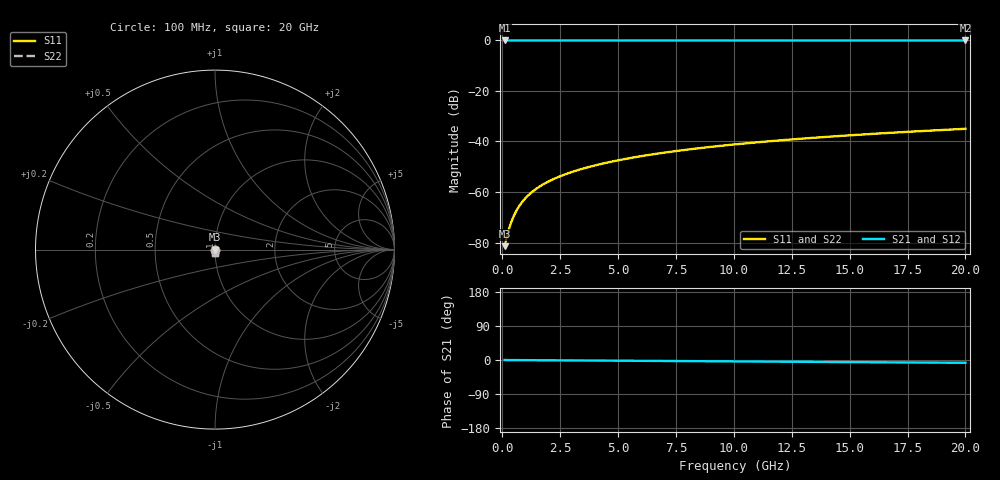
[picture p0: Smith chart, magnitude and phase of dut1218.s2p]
! Touchstone file exported from HFSS 2026.1.0
!  File:  C:/ffzhzh/LocalFiles/Ansys_Project_Files/temp_train_TSV_1218_1783192981_51560.aedt
!  Generated:  03:24:15 AM Jul  5, 2026
!  Design:  TSV
!  Project:  temp_train_TSV_1218_1783192981_51560
! Variables:
!  h_bsmrdl = 2um
!  h_ox = 20um
!  h_rdl = 5um
!  h_sub = 71.58um
!  h_tmrdl = 5um
!  h_tsv = 71.58um
!  h_via = 3um
!  l_bsmrdl = 300um
!  l_sub = 429.84um
!  l_tmrdl = 200um
!  m_sub = 200um
!  pitch = 51.87um
!  r_tsv = 14.92um
!  s_tmrdl = 10um
!  w_bsmrdl = 18um
!  w_sub = 500um
!  w_tmrdl = 12um
!  x_tsv_center1 = 206um
!  x_tsv_center2 = 524um
!  x_tsv_center3 = 736um
!  x_tsv_center4 = 1054um
!  x_tsv_center5 = 1266um
!  x_tsv_center6 = 1584um
# GHz S MA R 50.000000
! Terminal data exported
! Port[1] = TSV1_1_T1
! Port[2] = TSV1_1_T2
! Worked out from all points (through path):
!   200 points, 100 MHz to 20 GHz, reference 50 ohm
!   highest |S21| = 0.00 dB at 100 MHz (marker M1); lowest = 0.0 dB at 20 GHz (marker M2)
!   group delay of S21, straight-line fit = 1.02 ps
!   lowest |S11| = -81.4 dB at 100 MHz (marker M3), VSWR 1.00, Z = 50 - j0.00514 ohm
!   |S11| at or under -10 dB: start of sweep to end of sweep
!   |S22| runs from -81.4 to -35.0 dB; largest |S21 - S12| = 6.9e-15
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0.1  8.466e-05 -37.4  0.9999 -0.0  0.9999 -0.0  8.466e-05 -37.4
! Gamma 0 0 0 0
! Port Impedance 50 0 50 0
0.2  0.000133 -53.1  0.9999 -0.1  0.9999 -0.1  0.000133 -53.1
0.3  0.0001939 -59.6  0.9999 -0.1  0.9999 -0.1  0.0001939 -59.6
0.4  0.0002631 -63.2  0.9999 -0.2  0.9999 -0.2  0.0002631 -63.2
0.5  0.0003384 -65.6  0.9999 -0.2  0.9999 -0.2  0.0003384 -65.6
0.6  0.000418 -67.6  0.9998 -0.2  0.9998 -0.2  0.000418 -67.6
0.8  0.0005846 -70.8  0.9998 -0.3  0.9998 -0.3  0.0005846 -70.8
1.1  0.0008422 -74.3  0.9998 -0.4  0.9998 -0.4  0.0008422 -74.3
1.3  0.001015 -76.1  0.9997 -0.5  0.9997 -0.5  0.001015 -76.1
1.5  0.001188 -77.6  0.9997 -0.6  0.9997 -0.6  0.001188 -77.6
1.8  0.001447 -79.2  0.9997 -0.7  0.9997 -0.7  0.001447 -79.2
2.1  0.001706 -80.5  0.9997 -0.8  0.9997 -0.8  0.001706 -80.5
2.7  0.002224 -82.3  0.9997 -1.0  0.9997 -1.0  0.002224 -82.3
3.5  0.002919 -83.9  0.9996 -1.3  0.9996 -1.3  0.002919 -83.9
4.2  0.003532 -84.9  0.9996 -1.6  0.9996 -1.6  0.003532 -84.9
5  0.004238 -85.7  0.9995 -1.9  0.9995 -1.9  0.004238 -85.7
6.8  0.005842 -87.3  0.9995 -2.5  0.9995 -2.5  0.005842 -87.3
8.3  0.007189 -88.4  0.9994 -3.1  0.9994 -3.1  0.007189 -88.4
10.1  0.008813 -89.5  0.9993 -3.7  0.9993 -3.7  0.008813 -89.5
13.4  0.0118 -91.4  0.9992 -5.0  0.9992 -5.0  0.0118 -91.4
16.7  0.0148 -93.0  0.9991 -6.2  0.9991 -6.2  0.0148 -93.0
20  0.01782 -94.4  0.9989 -7.4  0.9989 -7.4  0.01782 -94.4
